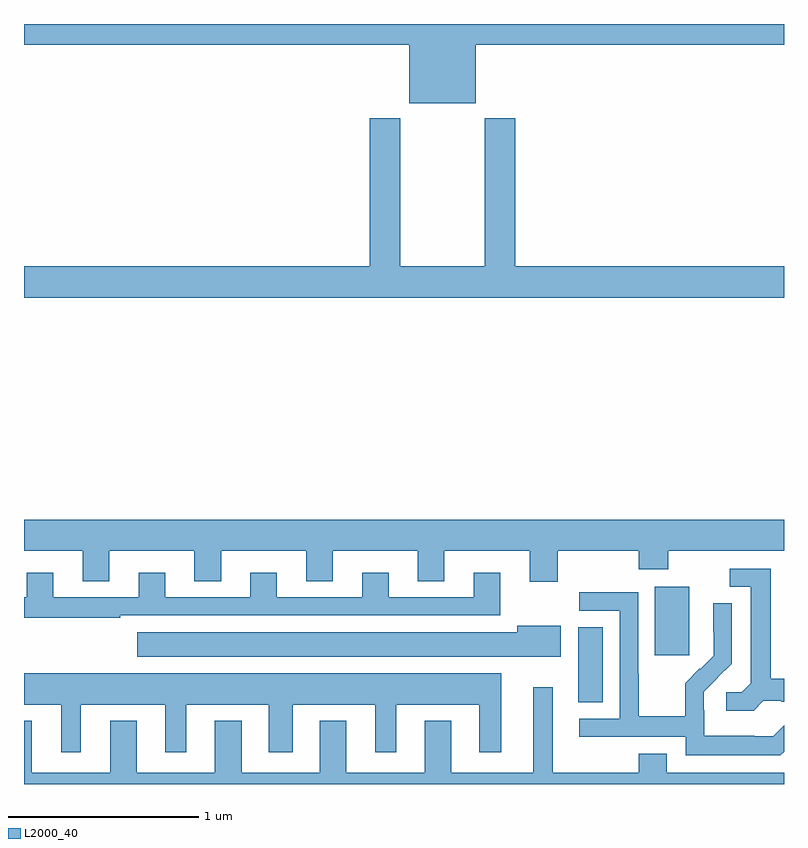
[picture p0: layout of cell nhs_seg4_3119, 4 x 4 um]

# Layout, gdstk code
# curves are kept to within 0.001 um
import gdstk
lib = gdstk.Library(unit=1e-6, precision=1e-09)
def R(c, l, rs):  # rectangles x0, y0, x1, y1
    for r in rs: c.add(gdstk.rectangle(r[:2], r[2:], *l))
def P(c, l, *ps):  # polygons
    for p in ps: c.add(gdstk.Polygon(p, *l))
L2000_40 = (2000, 40)

nhs_seg4_3119 = lib.new_cell('nhs_seg4_3119')
R(nhs_seg4_3119, L2000_40, [(277.916,821.329,278.047,821.726), (278.321,821.577,278.5,821.938)])
P(nhs_seg4_3119, L2000_40, [(277.378,824.792),(279,824.792),(279,824.9),(275,824.9),(275,824.792),(277.028,824.792),(277.028,824.483),(277.378,824.483)],
  [(279,823.624),(277.586,823.624),(277.586,824.404),(277.426,824.404),(277.426,823.624),(276.981,823.624),(276.981,824.404),(276.821,824.404),(276.821,823.624),(275,823.624),(275,823.46),(279,823.46)],
  [(277.809,822.128),(278.236,822.128),(278.236,822.029),(278.391,822.029),(278.391,822.128),(279,822.128),(279,822.292),(275,822.292),(275,822.128),(275.309,822.128),(275.309,821.968),(275.449,821.968),(275.449,822.128),(275.897,822.128),(275.897,821.968),(276.037,821.968),(276.037,822.128),(276.485,822.128),(276.485,821.968),(276.625,821.968),(276.625,822.128),(277.073,822.128),(277.073,821.968),(277.213,821.968),(277.213,822.128),(277.661,822.128),(277.661,821.964),(277.809,821.964)],
  [(278.892,821.337),(278.986,821.337),(278.986,821.334),(279,821.334),(279,821.453),(278.929,821.453),(278.929,822.033),(278.715,822.033),(278.715,821.937),(278.825,821.937),(278.825,821.429),(278.778,821.382),(278.697,821.382),(278.697,821.285),(278.84,821.285)],
  [(275.507,821.787),(277.507,821.787),(277.507,822.013),(277.367,822.013),(277.367,821.883),(276.919,821.883),(276.919,822.013),(276.779,822.013),(276.779,821.883),(276.331,821.883),(276.331,822.013),(276.191,822.013),(276.191,821.883),(275.743,821.883),(275.743,822.013),(275.603,822.013),(275.603,821.883),(275.155,821.883),(275.155,822.013),(275.015,822.013),(275.015,821.884),(275,821.884),(275,821.775),(275.507,821.775)],
  [(279,821.07),(279,821.208),(278.943,821.151),(278.843,821.151),(278.843,821.155),(278.58,821.155),(278.58,821.289),(278.578,821.289),(278.578,821.386),(278.724,821.534),(278.724,821.852),(278.628,821.852),(278.628,821.698),(278.63,821.698),(278.63,821.576),(278.559,821.505),(278.556,821.508),(278.479,821.431),(278.479,821.257),(278.235,821.257),(278.235,821.48),(278.232,821.48),(278.232,821.91),(277.923,821.91),(277.923,821.811),(278.136,821.811),(278.136,821.244),(277.923,821.244),(277.923,821.148),(278.484,821.148),(278.484,821.051),(278.981,821.051)],
  [(277.825,821.734),(277.595,821.734),(277.595,821.698),(275.595,821.698),(275.595,821.57),(277.825,821.57)],
  [(275.299,821.318),(275.744,821.318),(275.744,821.067),(275.854,821.067),(275.854,821.318),(276.287,821.318),(276.287,821.067),(276.415,821.067),(276.415,821.318),(276.848,821.318),(276.848,821.067),(276.958,821.067),(276.958,821.318),(277.397,821.318),(277.397,821.067),(277.513,821.067),(277.513,821.482),(275,821.482),(275,821.318),(275.195,821.318),(275.195,821.067),(275.299,821.067)],
  [(279,820.96),(278.383,820.96),(278.383,821.059),(278.236,821.059),(278.236,820.96),(277.783,820.96),(277.783,821.41),(277.679,821.41),(277.679,820.96),(277.249,820.96),(277.249,821.233),(277.109,821.233),(277.109,820.96),(276.697,820.96),(276.697,821.233),(276.557,821.233),(276.557,820.96),(276.145,820.96),(276.145,821.233),(276.005,821.233),(276.005,820.96),(275.593,820.96),(275.593,821.233),(275.453,821.233),(275.453,820.96),(275.041,820.96),(275.041,821.233),(275,821.233),(275,820.9),(279,820.9)])

lib.write_gds('nhs_seg4_3119.gds')
